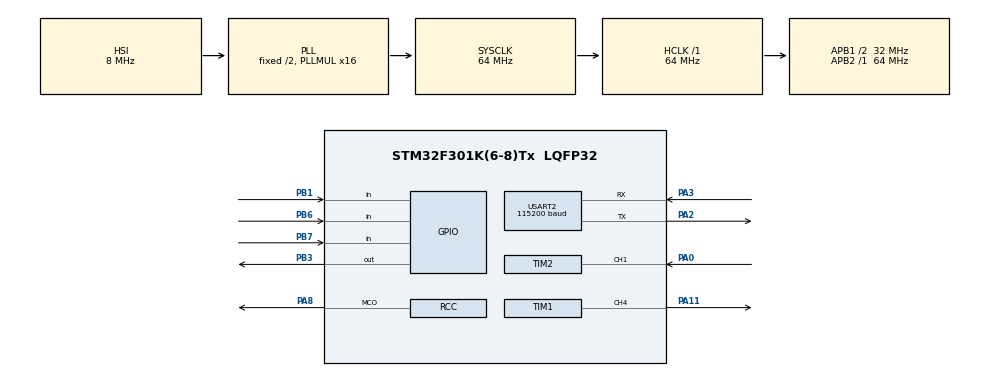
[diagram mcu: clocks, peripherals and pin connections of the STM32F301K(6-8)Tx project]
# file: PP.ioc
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Mcu.Family=STM32F3
Mcu.Name=STM32F301K(6-8)Tx
Mcu.Package=LQFP32
NVIC.PriorityGroup=NVIC_PRIORITYGROUP_4
NVIC.TIM2_IRQn=true\:0\:0\:false\:false\:true\:true\:true\:true
PA0.Signal=S_TIM2_CH1_ETR
PA11.Signal=S_TIM1_CH4
PA2.Mode=Asynchronous
PA2.Signal=USART2_TX
PA3.Mode=Asynchronous
PA3.Signal=USART2_RX
PA8.Mode=Clock-out
PA8.Signal=RCC_MCO
PB1.Signal=GPIO_Input
PB3.Signal=GPIO_Output
PB6.Signal=GPIO_Input
PB7.Signal=GPIO_Input
PF0-OSC_IN.Mode=HSE-External-Oscillator
PF0-OSC_IN.Signal=RCC_OSC_IN
PF1-OSC_OUT.Mode=HSE-External-Oscillator
PF1-OSC_OUT.Signal=RCC_OSC_OUT
ProjectManager.HeapSize=0x200
ProjectManager.StackSize=0x400
ProjectManager.TargetToolchain=STM32CubeIDE
RCC.AHBFreq_Value=64000000
RCC.APB1CLKDivider=RCC_HCLK_DIV2
RCC.APB1Freq_Value=32000000
RCC.APB1TimFreq_Value=64000000
RCC.APB2Freq_Value=64000000
RCC.APB2TimFreq_Value=64000000
RCC.CortexFreq_Value=64000000
RCC.HCLKFreq_Value=64000000
RCC.HSE_VALUE=8000000
RCC.HSI_VALUE=8000000
RCC.PLLMUL=RCC_PLL_MUL16
RCC.SYSCLKFreq_VALUE=64000000
RCC.SYSCLKSourceVirtual=RCC_SYSCLKSOURCE_PLLCLK
SH.S_TIM1_CH4.0=TIM1_CH4,PWM Generation4 CH4
SH.S_TIM2_CH1_ETR.0=TIM2_CH1,Input_Capture1_from_TI1
TIM1.Channel-PWM\ Generation4\ CH4=TIM_CHANNEL_4
TIM2.AutoReloadPreload=TIM_AUTORELOAD_PRELOAD_ENABLE
TIM2.Channel-Input_Capture1_from_TI1=TIM_CHANNEL_1
USART2.BaudRate=115200
USART2.VirtualMode-Asynchronous=VM_ASYNC
VP_TIM1_VS_ClockSourceINT.Mode=Internal
VP_TIM2_VS_ClockSourceINT.Mode=Internal
board=custom

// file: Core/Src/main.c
/* USER CODE BEGIN Header */
/**
  ******************************************************************************
  * @file           : main.c
  * @brief          : Main program body
  ******************************************************************************
  * @attention
  *
  * Copyright (c) 2023 STMicroelectronics.
  * All rights reserved.
  *
  * This software is licensed under terms that can be found in the LICENSE file
  * in the root directory of this software component.
  * If no LICENSE file comes with this software, it is provided AS-IS.
  *
  ******************************************************************************
  */
/* USER CODE END Header */
#include "main.h"

TIM_HandleTypeDef htim1;
TIM_HandleTypeDef htim2;

UART_HandleTypeDef huart2;

/* USER CODE BEGIN PV */
uint32_t Frequency_Local = 0;
volatile uint32_t Frequency = 0;
volatile uint32_t Capacity;
volatile uint32_t sample[5] = {0,0,0,0,0};
volatile uint32_t DeltaT = 0;
volatile uint32_t Overflow = 0;
volatile int Ind = 0;
volatile int Show = 0;
volatile char Text[60];
uint32_t Freq_Timer1 = 0;
uint8_t Input_Pin_1 = 0;
uint8_t Input_Pin_2 = 0;
uint8_t Input_Pin_3 = 0;
uint8_t Sum_Current = 0;
uint8_t Sum_Before = 0;
char Note_Musical[4];
/* USER CODE END PV */

void SystemClock_Config(void);
static void MX_GPIO_Init(void);
static void MX_TIM2_Init(void);
static void MX_USART2_UART_Init(void);
static void MX_TIM1_Init(void);
void Check_Pin(void);
void Config_PWM(void);
void Check_Frequency(void);

int main(void)
{

  /* MCU Configuration--------------------------------------------------------*/

  /* Reset of all peripherals, Initializes the Flash interface and the Systick. */
  HAL_Init();

  /* Configure the system clock */
  SystemClock_Config();

  /* Initialize all configured peripherals */
  MX_GPIO_Init();
  MX_TIM2_Init();
  MX_USART2_UART_Init();
  MX_TIM1_Init();
  HAL_TIM_Base_Start_IT(&htim2);
  HAL_TIM_IC_Start_IT(&htim2, TIM_CHANNEL_1);

  /* Infinite loop */
  while (1)
  {

    /* USER CODE BEGIN 3 */

	// Check the input values of pins PB 1, 6 and 7
	Check_Pin();

	// Checks the combination of pins PB 1, 6 and 7
	Config_PWM();

  // Checks the value of the variable Frequency_Local
	Check_Frequency();

  }
  /* USER CODE END 3 */
}

void SystemClock_Config(void)
{
  RCC_OscInitTypeDef RCC_OscInitStruct = {0};
  RCC_ClkInitTypeDef RCC_ClkInitStruct = {0};
  RCC_PeriphCLKInitTypeDef PeriphClkInit = {0};

  /** Initializes the RCC Oscillators according to the specified parameters
  * in the RCC_OscInitTypeDef structure.
  */
  RCC_OscInitStruct.OscillatorType = RCC_OSCILLATORTYPE_HSI;
  RCC_OscInitStruct.HSIState = RCC_HSI_ON;
  RCC_OscInitStruct.HSICalibrationValue = RCC_HSICALIBRATION_DEFAULT;
  RCC_OscInitStruct.PLL.PLLState = RCC_PLL_ON;
  RCC_OscInitStruct.PLL.PLLSource = RCC_PLLSOURCE_HSI;
  RCC_OscInitStruct.PLL.PLLMUL = RCC_PLL_MUL16;
  if (HAL_RCC_OscConfig(&RCC_OscInitStruct) != HAL_OK)
  {
    Error_Handler();
  }

  /** Initializes the CPU, AHB and APB buses clocks
  */
  RCC_ClkInitStruct.ClockType = RCC_CLOCKTYPE_HCLK|RCC_CLOCKTYPE_SYSCLK
                              |RCC_CLOCKTYPE_PCLK1|RCC_CLOCKTYPE_PCLK2;
  RCC_ClkInitStruct.SYSCLKSource = RCC_SYSCLKSOURCE_PLLCLK;
  RCC_ClkInitStruct.AHBCLKDivider = RCC_SYSCLK_DIV1;
  RCC_ClkInitStruct.APB1CLKDivider = RCC_HCLK_DIV2;
  RCC_ClkInitStruct.APB2CLKDivider = RCC_HCLK_DIV1;

  if (HAL_RCC_ClockConfig(&RCC_ClkInitStruct, FLASH_LATENCY_2) != HAL_OK)
  {
    Error_Handler();
  }
  PeriphClkInit.PeriphClockSelection = RCC_PERIPHCLK_TIM1;
  PeriphClkInit.Tim1ClockSelection = RCC_TIM1CLK_HCLK;
  if (HAL_RCCEx_PeriphCLKConfig(&PeriphClkInit) != HAL_OK)
  {
    Error_Handler();
  }
  HAL_RCC_MCOConfig(RCC_MCO, RCC_MCO1SOURCE_SYSCLK, RCC_MCODIV_1);
}

static void MX_TIM1_Init(void)
{

  TIM_ClockConfigTypeDef sClockSourceConfig = {0};
  TIM_MasterConfigTypeDef sMasterConfig = {0};
  TIM_OC_InitTypeDef sConfigOC = {0};
  TIM_BreakDeadTimeConfigTypeDef sBreakDeadTimeConfig = {0};

  /* USER CODE BEGIN TIM1_Init 1 */

  /* - PWM signal period (T_pwm) = 1 / f_pwm
   * - To obtain a frequency of 20kHz -> f_base = f_clk / (PSC + 1)
   *   -> f_base = 20 kHz = 64 MHz / (PSC + 1) => PSC = (64 MHz / 20 kHz) - 1 = 3199
   * - PWM (ARR) = (T_pwm * f_base) - 1 ----- htim1.Init.Period = Freq_Timer1;
   * - CCR4 = ARR / 2                   ----- sConfigOC.Pulse = (htim1.Init.Period+1)/2; */

  /* USER CODE END TIM1_Init 1 */
  htim1.Instance = TIM1;
  htim1.Init.Prescaler = 3199;
  htim1.Init.CounterMode = TIM_COUNTERMODE_UP;
  htim1.Init.Period = Freq_Timer1;
  htim1.Init.ClockDivision = TIM_CLOCKDIVISION_DIV1;
  htim1.Init.RepetitionCounter = 0;
  htim1.Init.AutoReloadPreload = TIM_AUTORELOAD_PRELOAD_DISABLE;
  if (HAL_TIM_Base_Init(&htim1) != HAL_OK)
  {
    Error_Handler();
  }
  sClockSourceConfig.ClockSource = TIM_CLOCKSOURCE_INTERNAL;
  if (HAL_TIM_ConfigClockSource(&htim1, &sClockSourceConfig) != HAL_OK)
  {
    Error_Handler();
  }
  if (HAL_TIM_PWM_Init(&htim1) != HAL_OK)
  {
    Error_Handler();
  }
  sMasterConfig.MasterOutputTrigger = TIM_TRGO_RESET;
  sMasterConfig.MasterOutputTrigger2 = TIM_TRGO2_RESET;
  sMasterConfig.MasterSlaveMode = TIM_MASTERSLAVEMODE_DISABLE;
  if (HAL_TIMEx_MasterConfigSynchronization(&htim1, &sMasterConfig) != HAL_OK)
  {
    Error_Handler();
  }
  sConfigOC.OCMode = TIM_OCMODE_PWM1;
  sConfigOC.Pulse = (htim1.Init.Period + 1)/2;
  sConfigOC.OCPolarity = TIM_OCPOLARITY_HIGH;
  sConfigOC.OCFastMode = TIM_OCFAST_DISABLE;
  sConfigOC.OCIdleState = TIM_OCIDLESTATE_RESET;
  sConfigOC.OCNIdleState = TIM_OCNIDLESTATE_RESET;
  if (HAL_TIM_PWM_ConfigChannel(&htim1, &sConfigOC, TIM_CHANNEL_4) != HAL_OK)
  {
    Error_Handler();
  }
  sBreakDeadTimeConfig.OffStateRunMode = TIM_OSSR_DISABLE;
  sBreakDeadTimeConfig.OffStateIDLEMode = TIM_OSSI_DISABLE;
  sBreakDeadTimeConfig.LockLevel = TIM_LOCKLEVEL_OFF;
  sBreakDeadTimeConfig.DeadTime = 0;
  sBreakDeadTimeConfig.BreakState = TIM_BREAK_DISABLE;
  sBreakDeadTimeConfig.BreakPolarity = TIM_BREAKPOLARITY_HIGH;
  sBreakDeadTimeConfig.BreakFilter = 0;
  sBreakDeadTimeConfig.Break2State = TIM_BREAK2_DISABLE;
  sBreakDeadTimeConfig.Break2Polarity = TIM_BREAK2POLARITY_HIGH;
  sBreakDeadTimeConfig.Break2Filter = 0;
  sBreakDeadTimeConfig.AutomaticOutput = TIM_AUTOMATICOUTPUT_DISABLE;
  if (HAL_TIMEx_ConfigBreakDeadTime(&htim1, &sBreakDeadTimeConfig) != HAL_OK)
  {
    Error_Handler();
  }
  /* USER CODE BEGIN TIM1_Init 2 */
  HAL_TIM_PWM_Start(&htim1, TIM_CHANNEL_4); //Iniciar a saída PWM
  /* USER CODE END TIM1_Init 2 */
  HAL_TIM_MspPostInit(&htim1);

}

static void MX_TIM2_Init(void)
{

  TIM_ClockConfigTypeDef sClockSourceConfig = {0};
  TIM_MasterConfigTypeDef sMasterConfig = {0};
  TIM_IC_InitTypeDef sConfigIC = {0};

  htim2.Instance = TIM2;
  htim2.Init.Prescaler = 0;
  htim2.Init.CounterMode = TIM_COUNTERMODE_UP;
  htim2.Init.Period = 4294967295;
  htim2.Init.ClockDivision = TIM_CLOCKDIVISION_DIV1;
  htim2.Init.AutoReloadPreload = TIM_AUTORELOAD_PRELOAD_ENABLE;
  if (HAL_TIM_Base_Init(&htim2) != HAL_OK)
  {
    Error_Handler();
  }
  sClockSourceConfig.ClockSource = TIM_CLOCKSOURCE_INTERNAL;
  if (HAL_TIM_ConfigClockSource(&htim2, &sClockSourceConfig) != HAL_OK)
  {
    Error_Handler();
  }
  if (HAL_TIM_IC_Init(&htim2) != HAL_OK)
  {
    Error_Handler();
  }
  sMasterConfig.MasterOutputTrigger = TIM_TRGO_RESET;
  sMasterConfig.MasterSlaveMode = TIM_MASTERSLAVEMODE_DISABLE;
  if (HAL_TIMEx_MasterConfigSynchronization(&htim2, &sMasterConfig) != HAL_OK)
  {
    Error_Handler();
  }
  sConfigIC.ICPolarity = TIM_INPUTCHANNELPOLARITY_RISING;
  sConfigIC.ICSelection = TIM_ICSELECTION_DIRECTTI;
  sConfigIC.ICPrescaler = TIM_ICPSC_DIV1;
  sConfigIC.ICFilter = 0;
  if (HAL_TIM_IC_ConfigChannel(&htim2, &sConfigIC, TIM_CHANNEL_1) != HAL_OK)
  {
    Error_Handler();
  }

}

static void MX_USART2_UART_Init(void)
{

  huart2.Instance = USART2;
  huart2.Init.BaudRate = 115200;
  huart2.Init.WordLength = UART_WORDLENGTH_8B;
  huart2.Init.StopBits = UART_STOPBITS_1;
  huart2.Init.Parity = UART_PARITY_NONE;
  huart2.Init.Mode = UART_MODE_TX_RX;
  huart2.Init.HwFlowCtl = UART_HWCONTROL_NONE;
  huart2.Init.OverSampling = UART_OVERSAMPLING_16;
  huart2.Init.OneBitSampling = UART_ONE_BIT_SAMPLE_DISABLE;
  huart2.AdvancedInit.AdvFeatureInit = UART_ADVFEATURE_NO_INIT;
  if (HAL_UART_Init(&huart2) != HAL_OK)
  {
    Error_Handler();
  }

}

static void MX_GPIO_Init(void)
{
  GPIO_InitTypeDef GPIO_InitStruct = {0};

  /* GPIO Ports Clock Enable */
  __HAL_RCC_GPIOF_CLK_ENABLE();
  __HAL_RCC_GPIOA_CLK_ENABLE();
  __HAL_RCC_GPIOB_CLK_ENABLE();

  /*Configure GPIO pin Output Level */
  HAL_GPIO_WritePin(GPIOB, GPIO_PIN_3, GPIO_PIN_RESET);

  /*Configure GPIO pins : PB1 PB6 PB7 */
  GPIO_InitStruct.Pin = GPIO_PIN_1|GPIO_PIN_6|GPIO_PIN_7;
  GPIO_InitStruct.Mode = GPIO_MODE_INPUT;
  GPIO_InitStruct.Pull = GPIO_NOPULL;
  HAL_GPIO_Init(GPIOB, &GPIO_InitStruct);

  /*Configure GPIO pin : PA8 */
  GPIO_InitStruct.Pin = GPIO_PIN_8;
  GPIO_InitStruct.Mode = GPIO_MODE_AF_PP;
  GPIO_InitStruct.Pull = GPIO_NOPULL;
  GPIO_InitStruct.Speed = GPIO_SPEED_FREQ_LOW;
  GPIO_InitStruct.Alternate = GPIO_AF0_MCO;
  HAL_GPIO_Init(GPIOA, &GPIO_InitStruct);

  /*Configure GPIO pin : PB3 */
  GPIO_InitStruct.Pin = GPIO_PIN_3;
  GPIO_InitStruct.Mode = GPIO_MODE_OUTPUT_PP;
  GPIO_InitStruct.Pull = GPIO_NOPULL;
  GPIO_InitStruct.Speed = GPIO_SPEED_FREQ_LOW;
  HAL_GPIO_Init(GPIOB, &GPIO_InitStruct);

}

/* USER CODE BEGIN 4 */
void HAL_TIM_IC_CaptureCallback(TIM_HandleTypeDef *htim){
  /* Time capture when there is a Rising Edge */
  sample[Ind]=(uint32_t) HAL_TIM_ReadCapturedValue(htim, TIM_CHANNEL_1);
  Ind++;

  /* Processing the data to calculate frequency */
  if (Ind == 5){
    Ind = 0;
    DeltaT = sample[4] + Overflow*4294967295 - sample[0];
    Overflow = 0;
    Frequency = 4*64000000/((htim->Init.Prescaler + 1)*DeltaT);
    Capacity = 1000000/Frequency;

    /* Volatile type cannot be used in the main() function, because the volatile type does not guarantee the stability of the "Frequency" variable */
    Frequency_Local = Frequency;

    /* Formatting of the display spaces */
    sprintf(Text, "Frequency = %d Hz - Note Musical = %s\n", Frequency, Note_Musical);

    /* Display with a speed 30 times less for readability */
    if(Show++ == 30){
      Show = 0;
	    HAL_UART_Transmit(&huart2, Text, 60, 1000);
    }
  }
}

void HAL_TIM_PeriodElapsedCallback(TIM_HandleTypeDef* htim){
  Overflow++;
}
/* USER CODE END 4 */

void Check_Pin(void) {
	/* Reading the pins and assigning values to variables */
	Input_Pin_1 = HAL_GPIO_ReadPin(GPIOB, GPIO_PIN_1) == GPIO_PIN_SET ? 1 : 0;
	Input_Pin_2 = HAL_GPIO_ReadPin(GPIOB, GPIO_PIN_6) == GPIO_PIN_SET ? 1 : 0;
	Input_Pin_3 = HAL_GPIO_ReadPin(GPIOB, GPIO_PIN_7) == GPIO_PIN_SET ? 1 : 0;

	/* Calculates the combination present on the pins */
	Sum_Current = (Input_Pin_1 << 2) | (Input_Pin_2 << 1) | Input_Pin_3;
}

void Config_PWM(void) {
	/* From the value added in combination, a frequency for the musical note will be generated */
	switch (Sum_Current) {
	    case 0:
	    	Freq_Timer1 = 0;    // Nulo
	    	strcpy(Note_Musical, "Null");
	        break;
	    case 1:
	    	Freq_Timer1 = 136;  // Ré
	    	strcpy(Note_Musical, "Re");
	        break;
	    case 2:
	    	Freq_Timer1 = 182;  // Lá
	    	strcpy(Note_Musical, "La");
	        break;
	    case 3:
	    	Freq_Timer1 = 81;   // Si
	    	strcpy(Note_Musical, "Si");
	        break;
	    case 4:
	    	Freq_Timer1 = 243;  // Mi-g
	    	strcpy(Note_Musical, "Mi-g");
	        break;
	    case 5:
	    	Freq_Timer1 = 61;   // Mi-a
	    	strcpy(Note_Musical, "Mi-a");
	        break;
	    case 6:
	    	Freq_Timer1 = 102;  // Sol
	    	strcpy(Note_Musical, "Sol");
	    	break;
	    case 7:
	    	Freq_Timer1 = 0;    // Nulo
	    	strcpy(Note_Musical, "Null");
	}
}

void Check_Frequency(void) {
	/* Checks if the frequency is lower than 42kHz, that is, if there is the presence of the hand. In addition, it checks that Freq_Timer1 is non-zero to emit a sound */
	if (Frequency_Local < 42000 && Sum_Current != 0 && Freq_Timer1 != 0) {

		/* Checks the previous state to see if the same musical note is being requested */
		if(Sum_Current != Sum_Before){
			Sum_Before = Sum_Current;

			/* PWM frequency change */
			MX_TIM1_Init();
		}
	}
	else {
		/* Null frequency */
		Freq_Timer1 = 0;
		Sum_Before = 0;

		/* PWM frequency change */
		MX_TIM1_Init();
	}

	/* Waits a time (in milliseconds) to execute the next cycle */
	HAL_Delay(100);
}

void Error_Handler(void)
{
}
